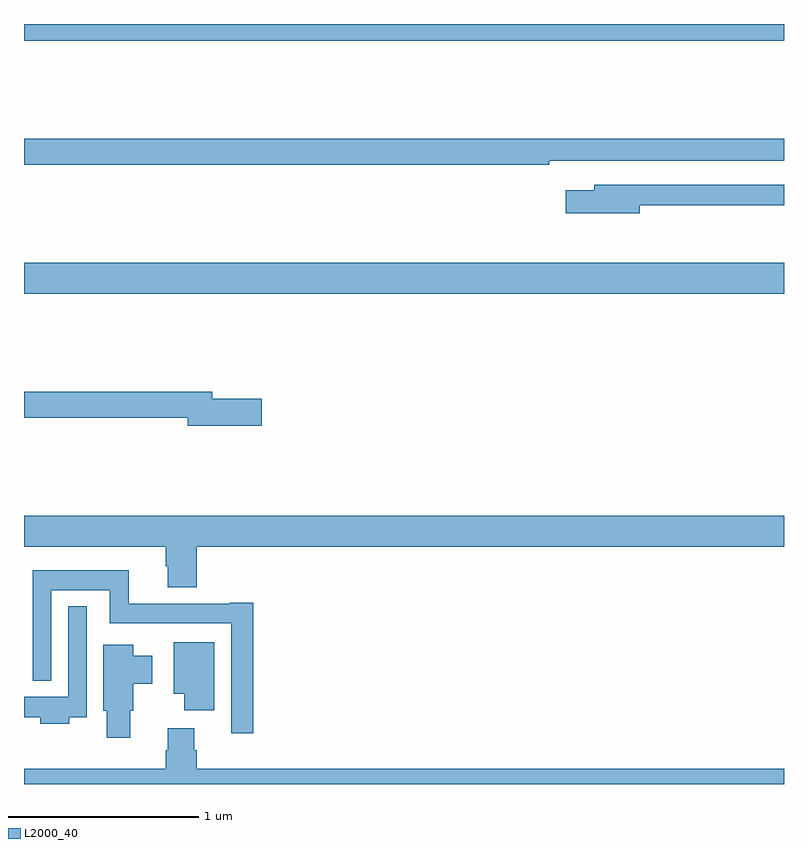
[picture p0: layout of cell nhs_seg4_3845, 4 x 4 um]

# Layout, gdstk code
import gdstk
lib = gdstk.Library(unit=1e-6, precision=1e-09)
def R(c, l, rs):  # rectangles x0, y0, x1, y1
    for r in rs: c.add(gdstk.rectangle(r[:2], r[2:], *l))
def P(c, l, *ps):  # polygons
    for p in ps: c.add(gdstk.Polygon(p, *l))
L2000_40 = (2000, 40)

nhs_seg4_3845 = lib.new_cell('nhs_seg4_3845')
R(nhs_seg4_3845, L2000_40, [(313,803.48,317,803.644), (313,804.812,317,804.9)])
P(nhs_seg4_3845, L2000_40, [(315.764,804.18),(317,804.18),(317,804.296),(313,804.296),(313,804.16),(315.764,804.16)],
  [(316.24,803.946),(317,803.946),(317,804.054),(316.001,804.054),(316.001,804.025),(315.852,804.025),(315.852,803.903),(316.24,803.903)],
  [(314.251,802.928),(313.99,802.928),(313.99,802.964),(313,802.964),(313,802.828),(313.862,802.828),(313.862,802.786),(314.251,802.786)],
  [(313.91,802.148),(317,802.148),(317,802.312),(313,802.312),(313,802.148),(313.745,802.148),(313.745,802.047),(313.757,802.047),(313.757,801.935),(313.91,801.935)],
  [(314.207,801.853),(314.084,801.853),(314.084,801.85),(313.55,801.85),(313.55,802.024),(313.046,802.024),(313.046,801.443),(313.143,801.443),(313.143,801.92),(313.452,801.92),(313.452,801.746),(314.091,801.746),(314.091,801.168),(314.207,801.168)],
  [(313.237,801.252),(313.329,801.252),(313.329,801.835),(313.233,801.835),(313.233,801.358),(313,801.358),(313,801.252),(313.085,801.252),(313.085,801.218),(313.237,801.218)],
  [(314.002,801.646),(313.787,801.646),(313.787,801.374),(313.844,801.374),(313.844,801.288),(314.002,801.288)],
  [(313.558,801.285),(313.576,801.285),(313.576,801.427),(313.675,801.427),(313.675,801.574),(313.576,801.574),(313.576,801.634),(313.418,801.634),(313.418,801.285),(313.436,801.285),(313.436,801.144),(313.558,801.144)],
  [(317,800.98),(313.91,800.98),(313.91,801.078),(313.897,801.078),(313.897,801.193),(313.757,801.193),(313.757,801.078),(313.745,801.078),(313.745,800.98),(313,800.98),(313,800.9),(317,800.9)])

lib.write_gds('nhs_seg4_3845.gds')
